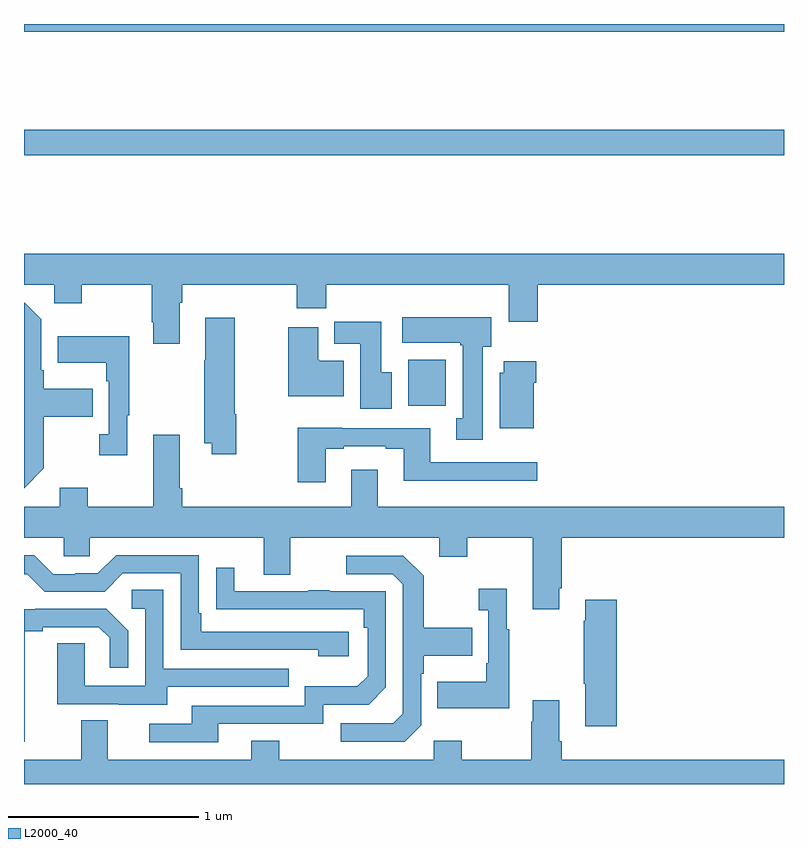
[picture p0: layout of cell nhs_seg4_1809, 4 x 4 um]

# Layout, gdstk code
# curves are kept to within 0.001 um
import gdstk
lib = gdstk.Library(unit=1e-6, precision=1e-09)
def R(c, l, rs):  # rectangles x0, y0, x1, y1
    for r in rs: c.add(gdstk.rectangle(r[:2], r[2:], *l))
def P(c, l, *ps):  # polygons
    for p in ps: c.add(gdstk.Polygon(p, *l))
L2000_40 = (2000, 40)

nhs_seg4_1809 = lib.new_cell('nhs_seg4_1809')
R(nhs_seg4_1809, L2000_40, [(207.023,754.892,207.22,755.134), (205,756.208,209,756.344), (205,756.86,209,756.9)])
P(nhs_seg4_1809, L2000_40, [(205.819,755.432),(205.832,755.432),(205.832,755.528),(206.435,755.528),(206.435,755.404),(206.591,755.404),(206.591,755.528),(207.551,755.528),(207.551,755.334),(207.704,755.334),(207.704,755.528),(209,755.528),(209,755.692),(205,755.692),(205,755.528),(205.158,755.528),(205.158,755.429),(205.305,755.429),(205.305,755.528),(205.672,755.528),(205.672,755.329),(205.679,755.329),(205.679,755.217),(205.819,755.217)],
  [(205.105,754.561),(205.105,754.834),(205.361,754.834),(205.361,754.981),(205.105,754.981),(205.105,755.077),(205.092,755.077),(205.092,755.346),(205.005,755.433),(205,755.433),(205,754.456)],
  [(207.415,755.202),(207.46,755.202),(207.46,755.356),(206.991,755.356),(206.991,755.222),(207.295,755.222),(207.295,755.209),(207.308,755.209),(207.308,754.826),(207.275,754.826),(207.275,754.713),(207.415,754.713)],
  [(206.118,754.847),(206.11,754.847),(206.11,755.353),(205.955,755.353),(205.955,755.129),(205.948,755.129),(205.948,754.694),(205.988,754.694),(205.988,754.635),(206.118,754.635)],
  [(206.935,755.068),(206.881,755.068),(206.881,755.334),(206.633,755.334),(206.633,755.216),(206.771,755.216),(206.771,754.875),(206.935,754.875)],
  [(206.683,755.128),(206.554,755.128),(206.554,755.134),(206.548,755.134),(206.548,755.305),(206.39,755.305),(206.39,754.94),(206.683,754.94)],
  [(205.543,754.841),(205.555,754.841),(205.555,755.257),(205.177,755.257),(205.177,755.117),(205.434,755.117),(205.434,755.021),(205.446,755.021),(205.446,754.742),(205.395,754.742),(205.395,754.629),(205.543,754.629)],
  [(207.682,755.012),(207.695,755.012),(207.695,755.125),(207.524,755.125),(207.524,755.064),(207.503,755.064),(207.503,754.772),(207.682,754.772)],
  [(206.587,754.665),(206.683,754.665),(206.683,754.677),(206.903,754.677),(206.903,754.665),(206.999,754.665),(206.999,754.496),(207.7,754.496),(207.7,754.593),(207.139,754.593),(207.139,754.773),(206.675,754.773),(206.675,754.774),(206.44,754.774),(206.44,754.488),(206.587,754.488)],
  [(207.817,753.931),(207.83,753.931),(207.83,754.196),(209,754.196),(209,754.36),(206.863,754.36),(206.863,754.555),(206.723,754.555),(206.723,754.36),(205.832,754.36),(205.832,754.456),(205.819,754.456),(205.819,754.738),(205.679,754.738),(205.679,754.36),(205.335,754.36),(205.335,754.459),(205.187,754.459),(205.187,754.36),(205,754.36),(205,754.196),(205.209,754.196),(205.209,754.098),(205.347,754.098),(205.347,754.196),(206.261,754.196),(206.261,754.002),(206.401,754.002),(206.401,754.196),(207.185,754.196),(207.185,754.097),(207.333,754.097),(207.333,754.196),(207.677,754.196),(207.677,753.819),(207.817,753.819)],
  [(206.71,753.702),(205.933,753.702),(205.933,753.799),(205.92,753.799),(205.92,754.104),(205.485,754.104),(205.389,754.008),(205.271,754.008),(205.271,754.005),(205.155,754.005),(205.055,754.105),(205,754.105),(205,754.005),(205.017,754.005),(205.11,753.912),(205.425,753.912),(205.521,754.008),(205.824,754.008),(205.824,753.606),(206.549,753.606),(206.549,753.572),(206.71,753.572)],
  [(207.09,753.21),(207.09,753.479),(207.103,753.479),(207.103,753.575),(207.359,753.575),(207.359,753.723),(207.103,753.723),(207.103,753.995),(206.997,754.101),(206.697,754.101),(206.697,754.005),(206.94,754.005),(206.994,753.951),(206.994,753.27),(206.943,753.219),(206.667,753.219),(206.667,753.123),(207.003,753.123)],
  [(206.023,753.216),(206.574,753.216),(206.574,753.318),(206.814,753.318),(206.904,753.408),(206.904,753.915),(206.609,753.915),(206.609,753.92),(206.497,753.92),(206.497,753.915),(206.107,753.915),(206.107,754.039),(206.011,754.039),(206.011,753.82),(206.788,753.819),(206.788,753.722),(206.808,753.722),(206.808,753.468),(206.755,753.415),(206.478,753.415),(206.478,753.312),(205.883,753.312),(205.883,753.216),(205.659,753.216),(205.659,753.12),(206.023,753.12)],
  [(207.553,753.715),(207.541,753.715),(207.541,753.928),(207.393,753.928),(207.393,753.815),(207.444,753.815),(207.444,753.535),(207.432,753.535),(207.432,753.439),(207.175,753.439),(207.175,753.299),(207.553,753.299)],
  [(205.753,753.411),(206.393,753.411),(206.393,753.507),(205.734,753.507),(205.734,753.923),(205.566,753.923),(205.566,753.822),(205.638,753.822),(205.638,753.417),(205.32,753.417),(205.32,753.641),(205.175,753.641),(205.175,753.321),(205.499,753.321),(205.499,753.317),(205.753,753.317)],
  [(208.121,753.871),(207.953,753.871),(207.953,753.758),(207.946,753.758),(207.946,753.427),(207.953,753.427),(207.953,753.204),(208.121,753.204)],
  [(205.003,753.704),(205.099,753.704),(205.099,753.726),(205.394,753.726),(205.451,753.669),(205.451,753.513),(205.548,753.513),(205.548,753.706),(205.432,753.822),(205.06,753.822),(205.06,753.819),(205,753.819),(205,753.123),(205.003,753.123)],
  [(209,753.028),(207.83,753.028),(207.83,753.124),(207.817,753.124),(207.817,753.34),(207.677,753.34),(207.677,753.227),(207.67,753.227),(207.67,753.028),(207.303,753.028),(207.303,753.127),(207.156,753.127),(207.156,753.028),(206.343,753.028),(206.343,753.127),(206.195,753.127),(206.195,753.028),(205.441,753.028),(205.441,753.236),(205.301,753.236),(205.301,753.028),(205,753.028),(205,752.9),(209,752.9)])

lib.write_gds('nhs_seg4_1809.gds')
